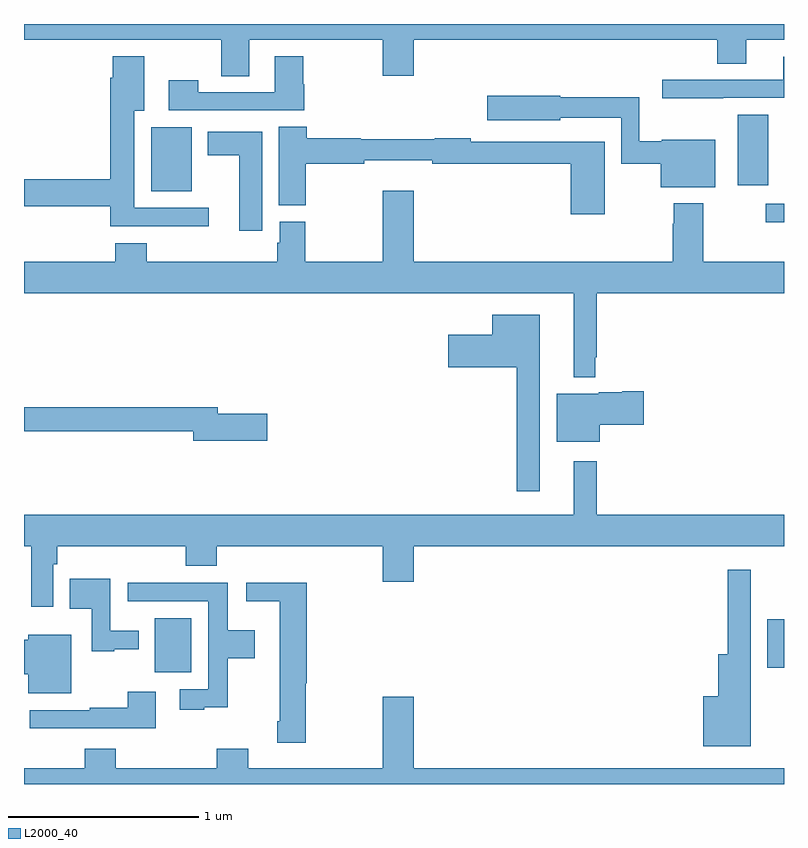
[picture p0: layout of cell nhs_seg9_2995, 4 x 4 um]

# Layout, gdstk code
import gdstk
lib = gdstk.Library(unit=1e-6, precision=1e-09)
def R(c, l, rs):  # rectangles x0, y0, x1, y1
    for r in rs: c.add(gdstk.rectangle(r[:2], r[2:], *l))
def P(c, l, *ps):  # polygons
    for p in ps: c.add(gdstk.Polygon(p, *l))
L2000_40 = (2000, 40)

nhs_seg9_2995 = lib.new_cell('nhs_seg9_2995')
R(nhs_seg9_2995, L2000_40, [(283.688,1197.089,283.879,1197.373), (286.913,1197.113,287,1197.367), (286.905,1199.456,287,1199.553), (283.67,1199.621,283.882,1199.956), (286.757,1199.652,286.918,1200.022)])
P(nhs_seg9_2995, L2000_40, [(284.185,1200.416),(284.888,1200.416),(284.888,1200.228),(285.052,1200.228),(285.052,1200.416),(286.649,1200.416),(286.649,1200.292),(286.801,1200.292),(286.801,1200.416),(287,1200.416),(287,1200.5),(283,1200.5),(283,1200.416),(284.038,1200.416),(284.038,1200.226),(284.185,1200.226)],
  [(283.972,1199.532),(283.579,1199.532),(283.579,1200.044),(283.633,1200.044),(283.633,1200.331),(283.466,1200.331),(283.466,1200.218),(283.454,1200.218),(283.454,1199.684),(283,1199.684),(283,1199.542),(283.454,1199.542),(283.454,1199.435),(283.972,1199.435)],
  [(284.474,1200.183),(284.469,1200.183),(284.469,1200.331),(284.321,1200.331),(284.321,1200.141),(283.917,1200.141),(283.917,1200.205),(283.761,1200.205),(283.761,1200.045),(284.474,1200.045)],
  [(286.679,1200.111),(287,1200.111),(287,1200.327),(286.997,1200.327),(286.997,1200.207),(286.359,1200.207),(286.359,1200.109),(286.679,1200.109)],
  [(286.639,1199.89),(286.356,1199.89),(286.356,1199.883),(286.239,1199.883),(286.239,1200.115),(285.822,1200.115),(285.822,1200.123),(285.438,1200.123),(285.438,1199.993),(285.822,1199.993),(285.822,1200.006),(286.143,1200.006),(286.143,1199.764),(286.352,1199.764),(286.352,1199.642),(286.639,1199.642)],
  [(286.056,1199.88),(285.35,1199.88),(285.35,1199.9),(285.161,1199.9),(285.161,1199.893),(284.772,1199.893),(284.772,1199.9),(284.489,1199.9),(284.489,1199.96),(284.342,1199.96),(284.342,1199.545),(284.484,1199.545),(284.484,1199.764),(284.792,1199.764),(284.792,1199.783),(285.148,1199.783),(285.148,1199.764),(285.878,1199.764),(285.878,1199.499),(286.056,1199.499)],
  [(284.254,1199.932),(283.967,1199.932),(283.967,1199.81),(284.132,1199.81),(284.132,1199.412),(284.254,1199.412)],
  [(286.007,1198.747),(286.015,1198.747),(286.015,1199.084),(287,1199.084),(287,1199.248),(286.575,1199.248),(286.575,1199.557),(286.42,1199.557),(286.42,1199.45),(286.415,1199.45),(286.415,1199.248),(285.052,1199.248),(285.052,1199.623),(284.888,1199.623),(284.888,1199.248),(284.481,1199.248),(284.481,1199.46),(284.345,1199.46),(284.345,1199.349),(284.333,1199.349),(284.333,1199.248),(283.646,1199.248),(283.646,1199.347),(283.481,1199.347),(283.481,1199.248),(283,1199.248),(283,1199.084),(285.893,1199.084),(285.893,1198.64),(286.007,1198.64)],
  [(285.715,1198.969),(285.464,1198.969),(285.464,1198.864),(285.234,1198.864),(285.234,1198.694),(285.594,1198.694),(285.594,1198.041),(285.715,1198.041)],
  [(286.03,1198.39),(286.261,1198.39),(286.261,1198.568),(286.148,1198.568),(286.148,1198.561),(286.026,1198.561),(286.026,1198.555),(285.803,1198.555),(285.803,1198.301),(286.03,1198.301)],
  [(284.281,1198.448),(284.02,1198.448),(284.02,1198.484),(283,1198.484),(283,1198.356),(283.892,1198.356),(283.892,1198.306),(284.281,1198.306)],
  [(283.155,1197.656),(283.175,1197.656),(283.175,1197.752),(283.85,1197.752),(283.85,1197.65),(284.015,1197.65),(284.015,1197.752),(284.888,1197.752),(284.888,1197.564),(285.052,1197.564),(285.052,1197.752),(287,1197.752),(287,1197.916),(286.015,1197.916),(286.015,1198.198),(285.893,1198.198),(285.893,1197.916),(283,1197.916),(283,1197.752),(283.039,1197.752),(283.039,1197.432),(283.155,1197.432)],
  [(286.825,1197.628),(286.704,1197.628),(286.704,1197.184),(286.655,1197.184),(286.655,1196.962),(286.574,1196.962),(286.574,1196.699),(286.825,1196.699)],
  [(283.476,1197.208),(283.603,1197.208),(283.603,1197.307),(283.455,1197.307),(283.455,1197.58),(283.24,1197.58),(283.24,1197.422),(283.356,1197.422),(283.356,1197.198),(283.476,1197.198)],
  [(283.949,1196.903),(284.072,1196.903),(284.072,1197.163),(284.215,1197.163),(284.215,1197.31),(284.072,1197.31),(284.072,1197.558),(283.766,1197.558),(283.766,1197.56),(283.545,1197.56),(283.545,1197.462),(283.971,1197.462),(283.971,1197),(283.821,1197),(283.821,1196.892),(283.949,1196.892)],
  [(284.484,1197.03),(284.489,1197.03),(284.489,1197.56),(284.169,1197.56),(284.169,1197.461),(284.345,1197.461),(284.345,1196.83),(284.333,1196.83),(284.333,1196.718),(284.484,1196.718)],
  [(283.249,1197.286),(283.022,1197.286),(283.022,1197.26),(283,1197.26),(283,1197.077),(283.022,1197.077),(283.022,1196.978),(283.249,1196.978)],
  [(283.693,1196.986),(283.546,1196.986),(283.546,1196.902),(283.345,1196.902),(283.345,1196.889),(283.029,1196.889),(283.029,1196.793),(283.693,1196.793)],
  [(287,1196.584),(285.052,1196.584),(285.052,1196.959),(284.888,1196.959),(284.888,1196.584),(284.18,1196.584),(284.18,1196.686),(284.015,1196.686),(284.015,1196.584),(283.484,1196.584),(283.484,1196.686),(283.319,1196.686),(283.319,1196.584),(283,1196.584),(283,1196.5),(287,1196.5)])

lib.write_gds('nhs_seg9_2995.gds')
